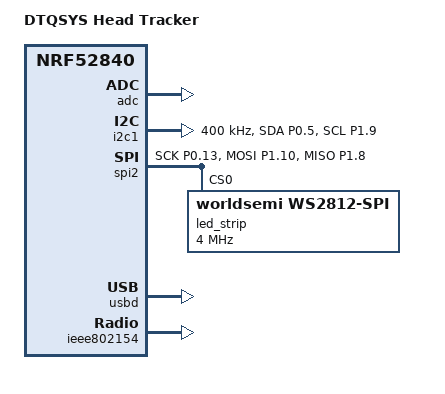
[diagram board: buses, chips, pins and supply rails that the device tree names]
/*
 * Copyright (c) 2020 Jefferson Lee
 *    Modified for DTQSYS board by Cliff Blackburn
 *
 * SPDX-License-Identifier: Apache-2.0
 */
/dts-v1/;

#include <nordic/nrf52840_qiaa.dtsi>
#include <dt-bindings/led/led.h>

/ {
	model = "DTQSYS Head Tracker";
	compatible = "dtqsys_ht";

	chosen {
		zephyr,sram = &sram0;
		zephyr,flash = &flash0;
		zephyr,code-partition = &code_partition;
		zephyr,ieee802154 = &ieee802154;
	};

	aliases {
		adcctrl = &adc;
    i2csensor = &i2c1;
		guiuart = &cdc_acm_uart0;
	};
};

&flash0 {
	partitions {
		compatible = "fixed-partitions";
		#address-cells = <1>;
		#size-cells = <1>;

		code_partition: partition@10000 {
			label = "code";
			reg = <0x10000 0xEC000>;
			read-only;
		};

		storage_partition: partition@FB000 {
			label = "storagept";
			reg = <0xFB000 0x3000>;
		};

    ht_data_partition: partition@FD000 {
        label = "htdatapt";
        reg = <0xFE000 0x2000>;
    };
	};
};

&adc {
	status = "okay";
};

&gpio0 {
  status = "okay";
};

&gpio1 {
  status = "okay";
};

&gpiote {
	status = "okay";
};

&uart0 {
	status = "disabled";
};

&i2c0 {
	status = "disabled";
};

/* Disable Timer3, used by PPM output
 */
&timer3 {
    status = "disabled";
};

/* Disable Timer4, used by PPM input
 */
&timer4 {
    status = "disabled";
};

&pinctrl {
  i2c1_dtq: i2c1_dtq {
		group1 {
			psels = <NRF_PSEL(TWIM_SDA, 0, 5)>,
				<NRF_PSEL(TWIM_SCL, 1, 9)>;
		};
	};

  spi2_dtq: spi2_dtq {
    group1 {
      psels = <NRF_PSEL(SPIM_SCK, 0, 13)>,
        <NRF_PSEL(SPIM_MOSI, 1, 10)>,
        <NRF_PSEL(SPIM_MISO, 1, 8)>;
    };
  };
};

// Sensor I2C
&i2c1 {
	compatible = "nordic,nrf-twim";
	status = "okay";
  pinctrl-0 = <&i2c1_dtq>;
  pinctrl-names = "default";
  clock-frequency = <400000>;
};

// RGB LED, SPI Interface
&spi2 {
	compatible = "nordic,nrf-spim";
	status = "okay";
  pinctrl-0 = <&spi2_dtq>;
  pinctrl-names = "default";
    led_strip: ws2812@0 {
	    compatible = "worldsemi,ws2812-spi";
		reg = <0>;
    spi-max-frequency = <4000000>;
    color-mapping = <LED_COLOR_ID_GREEN LED_COLOR_ID_RED LED_COLOR_ID_BLUE>;
		chain-length = <1>;
		spi-one-frame = <0x70>;
		spi-zero-frame = <0x40>;
	};
};

zephyr_udc0: &usbd {
	compatible = "nordic,nrf-usbd";
	status = "okay";
  cdc_acm_uart0: cdc_acm_uart0 {
		compatible = "zephyr,cdc-acm-uart";
	};

  // Uncomment the below lines for kernel logging to a second USB CDC port
	/*
	cdc_acm_uart1: cdc_acm_uart1 {
		compatible = "zephyr,cdc-acm-uart";
	}; */
};

&ieee802154 {
	status = "okay";
};
